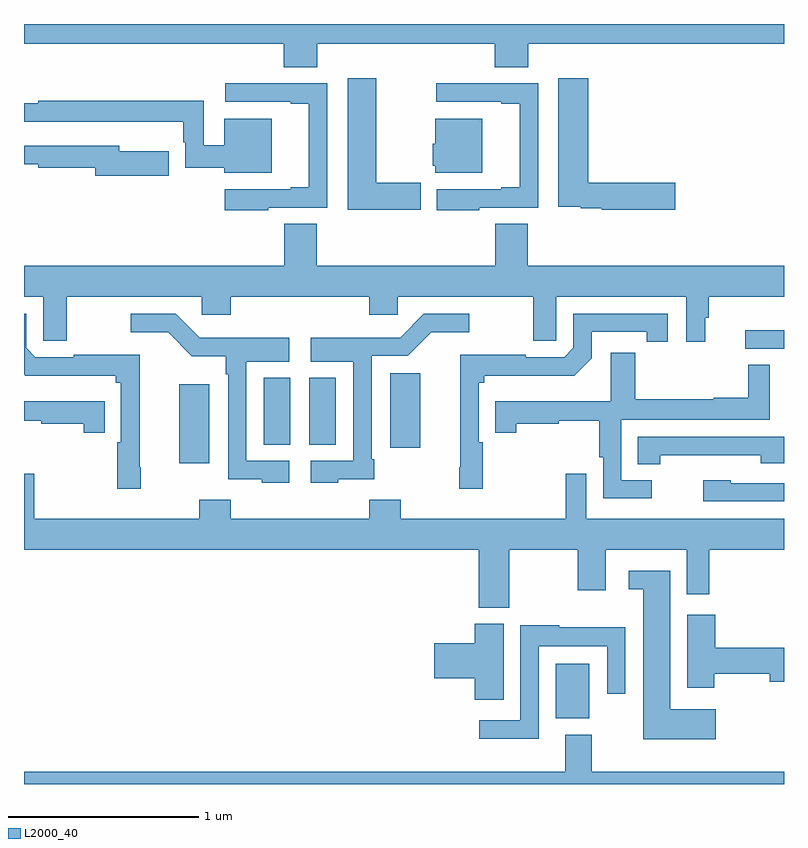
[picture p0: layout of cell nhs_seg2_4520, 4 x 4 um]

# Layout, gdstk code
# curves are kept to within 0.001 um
import gdstk
lib = gdstk.Library(unit=1e-6, precision=1e-09)
def R(c, l, rs):  # rectangles x0, y0, x1, y1
    for r in rs: c.add(gdstk.rectangle(r[:2], r[2:], *l))
def P(c, l, *ps):  # polygons
    for p in ps: c.add(gdstk.Polygon(p, *l))
L2000_40 = (2000, 40)

nhs_seg2_4520 = lib.new_cell('nhs_seg2_4520')
R(nhs_seg2_4520, L2000_40, [(359.798,584.147,359.974,584.434), (357.818,585.489,357.976,585.904), (358.928,585.57,359.086,585.961), (358.262,585.586,358.402,585.937), (358.502,585.586,358.642,585.937), (360.795,586.092,361,586.189)])
P(nhs_seg2_4520, L2000_40, [(358.544,587.696),(359.477,587.696),(359.477,587.572),(359.654,587.572),(359.654,587.696),(361,587.696),(361,587.8),(357,587.8),(357,587.696),(358.367,587.696),(358.367,587.572),(358.544,587.572)],
  [(359.088,586.964),(358.854,586.964),(358.854,587.515),(358.703,587.515),(358.703,586.822),(359.088,586.822)],
  [(360.427,586.964),(359.969,586.964),(359.969,587.515),(359.813,587.515),(359.813,586.838),(359.93,586.838),(359.93,586.831),(360.042,586.831),(360.042,586.822),(360.427,586.822)],
  [(358.286,586.833),(358.596,586.833),(358.596,587.487),(358.283,587.487),(358.283,587.489),(358.059,587.489),(358.059,587.391),(358.403,587.391),(358.403,587.379),(358.499,587.379),(358.499,586.942),(358.403,586.942),(358.403,586.929),(358.056,586.929),(358.056,586.821),(358.286,586.821)],
  [(359.396,586.833),(359.706,586.833),(359.706,587.487),(359.393,587.487),(359.393,587.489),(359.169,587.489),(359.169,587.391),(359.513,587.391),(359.513,587.379),(359.609,587.379),(359.609,586.942),(359.513,586.942),(359.513,586.929),(359.173,586.929),(359.173,586.821),(359.396,586.821)],
  [(358.303,587.302),(358.055,587.302),(358.055,587.163),(357.945,587.163),(357.945,587.395),(357.076,587.395),(357.076,587.382),(357,587.382),(357,587.286),(357.598,587.286),(357.598,587.285),(357.837,587.285),(357.837,587.178),(357.849,587.178),(357.849,587.044),(358.055,587.044),(358.055,587.018),(358.303,587.018)],
  [(359.413,587.302),(359.165,587.302),(359.165,587.169),(359.15,587.169),(359.15,587.055),(359.165,587.055),(359.165,587.018),(359.413,587.018)],
  [(357.763,587.131),(357.502,587.131),(357.502,587.16),(357,587.16),(357,587.063),(357.076,587.063),(357.076,587.044),(357.374,587.044),(357.374,587.002),(357.763,587.002)],
  [(360.586,586.254),(360.604,586.254),(360.604,586.364),(361,586.364),(361,586.528),(359.651,586.528),(359.651,586.748),(359.48,586.748),(359.48,586.528),(358.541,586.528),(358.541,586.748),(358.37,586.748),(358.37,586.528),(357,586.528),(357,586.364),(357.102,586.364),(357.102,586.132),(357.225,586.132),(357.225,586.364),(357.936,586.364),(357.936,586.271),(358.088,586.271),(358.088,586.364),(358.817,586.364),(358.817,586.271),(358.968,586.271),(358.968,586.364),(359.68,586.364),(359.68,586.132),(359.802,586.132),(359.802,586.364),(360.485,586.364),(360.485,586.128),(360.586,586.128)],
  [(359.414,585.598),(359.394,585.598),(359.394,585.912),(359.422,585.912),(359.422,585.95),(359.897,585.95),(359.988,586.041),(359.988,586.179),(360.278,586.179),(360.278,586.128),(360.388,586.128),(360.388,586.275),(359.892,586.275),(359.892,586.095),(359.844,586.047),(359.641,586.047),(359.641,586.06),(359.297,586.06),(359.297,585.466),(359.291,585.466),(359.291,585.354),(359.414,585.354)],
  [(358.653,585.405),(358.843,585.405),(358.843,585.508),(358.83,585.508),(358.83,586.053),(359.019,586.053),(359.144,586.178),(359.344,586.178),(359.344,586.275),(359.105,586.275),(358.979,586.149),(358.509,586.15),(358.509,586.022),(358.734,586.022),(358.734,585.501),(358.509,585.501),(358.509,585.386),(358.653,585.386)],
  [(358.396,585.501),(358.17,585.501),(358.17,586.022),(358.396,586.022),(358.396,586.15),(357.925,586.149),(357.799,586.275),(357.561,586.275),(357.561,586.178),(357.758,586.178),(357.884,586.052),(358.062,586.052),(358.062,585.956),(358.074,585.956),(358.074,585.405),(358.251,585.405),(358.251,585.386),(358.396,585.386)],
  [(357.614,585.466),(357.608,585.466),(357.608,586.06),(357.263,586.06),(357.263,586.047),(357.06,586.047),(357.012,586.095),(357.012,586.275),(357,586.275),(357,585.957),(357.007,585.95),(357.482,585.95),(357.482,585.912),(357.51,585.912),(357.51,585.598),(357.49,585.598),(357.49,585.354),(357.614,585.354)],
  [(360.304,585.399),(360.144,585.399),(360.144,585.717),(360.924,585.717),(360.924,586.007),(360.812,586.007),(360.812,585.833),(360.631,585.833),(360.631,585.826),(360.217,585.826),(360.217,586.069),(360.089,586.069),(360.089,585.814),(359.479,585.814),(359.479,585.648),(359.59,585.648),(359.59,585.697),(359.814,585.697),(359.814,585.712),(360.028,585.712),(360.028,585.52),(360.048,585.52),(360.048,585.303),(360.304,585.303)],
  [(357.425,585.814),(357,585.814),(357,585.712),(357.09,585.712),(357.09,585.697),(357.314,585.697),(357.314,585.648),(357.425,585.648)],
  [(360.348,585.53),(360.878,585.53),(360.878,585.488),(361,585.488),(361,585.627),(360.229,585.627),(360.229,585.484),(360.348,585.484)],
  [(359.553,585.032),(359.914,585.032),(359.914,584.82),(360.061,584.82),(360.061,585.032),(360.488,585.032),(360.488,584.799),(360.607,584.799),(360.607,585.032),(361,585.032),(361,585.196),(359.958,585.196),(359.958,585.433),(359.85,585.433),(359.85,585.196),(358.982,585.196),(358.982,585.295),(358.817,585.295),(358.817,585.196),(358.088,585.196),(358.088,585.295),(357.923,585.295),(357.923,585.196),(357.055,585.196),(357.055,585.433),(357,585.433),(357,585.032),(359.393,585.032),(359.393,584.728),(359.553,584.728)],
  [(361,585.384),(360.72,585.384),(360.72,585.4),(360.576,585.4),(360.576,585.288),(361,585.288)],
  [(360.64,584.194),(360.4,584.194),(360.4,584.922),(360.183,584.922),(360.183,584.825),(360.26,584.825),(360.26,584.036),(360.64,584.036)],
  [(360.633,584.38),(360.926,584.38),(360.926,584.338),(361,584.338),(361,584.516),(360.638,584.516),(360.638,584.692),(360.491,584.692),(360.491,584.307),(360.633,584.307)],
  [(359.524,584.643),(359.372,584.643),(359.372,584.54),(359.16,584.54),(359.16,584.357),(359.372,584.357),(359.372,584.244),(359.524,584.244)],
  [(359.709,584.525),(360.069,584.525),(360.069,584.274),(360.165,584.274),(360.165,584.626),(359.816,584.626),(359.816,584.636),(359.613,584.636),(359.613,584.136),(359.397,584.136),(359.397,584.039),(359.709,584.039)],
  [(361,583.864),(359.989,583.864),(359.989,584.059),(359.849,584.059),(359.849,583.864),(357,583.864),(357,583.8),(361,583.8)])

lib.write_gds('nhs_seg2_4520.gds')
